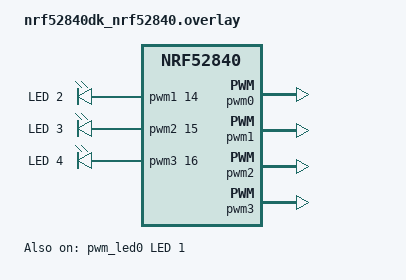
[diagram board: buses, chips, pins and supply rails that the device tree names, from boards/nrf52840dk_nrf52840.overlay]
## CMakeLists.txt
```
#
# Copyright (c) 2021 Nordic Semiconductor
#
# SPDX-License-Identifier: LicenseRef-Nordic-5-Clause
#
cmake_minimum_required(VERSION 3.20.0)

find_package(Zephyr REQUIRED HINTS $ENV{ZEPHYR_BASE})
project(NONE)

# NORDIC SDK APP START
target_sources(app PRIVATE
  src/main.c
)
# NORDIC SDK APP END

# Add include directory for board specific CAF def files
zephyr_include_directories(
  configuration/${BOARD}
  )

target_sources_ifdef(CONFIG_CAF_SAMPLE_LED_STATE
  app PRIVATE src/modules/led_state.c)
```

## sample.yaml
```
sample:
  name: CAF
  description: Common Application Framework sample
tests:
  samples.caf:
    build_only: true
    platform_allow: nrf52840dk_nrf52840 nrf5340dk_nrf5340_cpuapp
    integration_platforms:
      - nrf52840dk_nrf52840
      - nrf5340dk_nrf5340_cpuapp
    tags: caf ci_build
```

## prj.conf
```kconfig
#
# Copyright (c) 2021 Nordic Semiconductor
#
# SPDX-License-Identifier: LicenseRef-Nordic-5-Clause
#

# Dependencies for EVENT_MANAGER and CAF
CONFIG_LINKER_ORPHAN_SECTION_PLACE=y
CONFIG_EVENT_MANAGER_EVENT_LOG_BUF_LEN=0
CONFIG_HEAP_MEM_POOL_SIZE=2048

# Enable CAF_BUTTONS
CONFIG_CAF=y
CONFIG_CAF_BUTTONS=y
CONFIG_CAF_BUTTONS_POLARITY_INVERSED=y

# Dependencies for CAF_LEDS
CONFIG_LED=y
CONFIG_PWM=y
CONFIG_LED_PWM=y

# Enable CAF_LEDS
CONFIG_CAF_LEDS=y
CONFIG_CAF_LEDS_PWM=y

# Enable logging
CONFIG_LOG=y
# Increase number of internal logging buffers
CONFIG_LOG_STRDUP_BUF_COUNT=32

# Application specific options
CONFIG_CAF_SAMPLE_LED_STATE=y
```

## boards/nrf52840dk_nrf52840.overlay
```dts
/* Copyright (c) 2021 Nordic Semiconductor ASA
 *
 * SPDX-License-Identifier: LicenseRef-Nordic-5-Clause
 */

/ {
	pwmleds1 {
		compatible = "pwm-leds";
		status = "okay";

		pwm_led1: led_pwm_1 {
			status = "okay";
			pwms = <&pwm1 14>;
			label = "LED 2";
		};
	};

	pwmleds2 {
		compatible = "pwm-leds";
		status = "okay";

		pwm_led2: led_pwm_2 {
			status = "okay";
			pwms = <&pwm2 15>;
			label = "LED 3";
		};
	};

	pwmleds3 {
		compatible = "pwm-leds";
		status = "okay";

		pwm_led3: led_pwm_3 {
			status = "okay";
			pwms = <&pwm3 16>;
			label = "LED 4";
		};
	};
};

&pwm0 {
	status = "okay";
	ch0-pin = <13>;
	ch0-inverted;
};

&pwm1 {
	status = "okay";
	ch0-pin = <14>;
	ch0-inverted;
};

&pwm2 {
	status = "okay";
	ch0-pin = <15>;
	ch0-inverted;
};

&pwm3 {
	status = "okay";
	ch0-pin = <16>;
	ch0-inverted;
};

&pwm_led0 {
	status = "okay";
	pwms = <&pwm0 13>;
	label = "LED 1";
};
```

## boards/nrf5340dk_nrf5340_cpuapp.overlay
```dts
/* Copyright (c) 2021 Nordic Semiconductor ASA
 *
 * SPDX-License-Identifier: LicenseRef-Nordic-5-Clause
 */

/ {
	pwmleds1 {
		compatible = "pwm-leds";
		status = "okay";

		pwm_led1: led_pwm_1 {
			pwms = <&pwm1 29>;
			label = "LED 2";
		};
	};

	pwmleds2 {
		compatible = "pwm-leds";
		status = "okay";

		pwm_led2: led_pwm_2 {
			status = "okay";
			pwms = <&pwm2 30>;
			label = "LED 3";
		};
	};

	pwmleds3 {
		compatible = "pwm-leds";
		status = "okay";

		pwm_led3: led_pwm_3 {
			status = "okay";
			pwms = <&pwm3 31>;
			label = "LED 4";
		};
	};
};

&pwm0 {
	status = "okay";
	ch0-pin = <28>;
	ch0-inverted;
};

&pwm1 {
	status = "okay";
	ch0-pin = <29>;
	ch0-inverted;
};

&pwm2 {
	status = "okay";
	ch0-pin = <30>;
	ch0-inverted;
};

&pwm3 {
	status = "okay";
	ch0-pin = <31>;
	ch0-inverted;
};

&pwm_led0 {
	status = "okay";
	pwms = <&pwm0 28>;
	label = "LED 1";
};
```

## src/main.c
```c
/*
 * Copyright (c) 2021 Nordic Semiconductor ASA
 *
 * SPDX-License-Identifier: LicenseRef-Nordic-5-Clause
 */
#include <event_manager.h>

#define MODULE main
#include <caf/events/module_state_event.h>

#include <logging/log.h>
LOG_MODULE_REGISTER(MODULE);


void main(void)
{
	if (event_manager_init()) {
		LOG_ERR("Event manager not initialized");
	} else {
		module_set_state(MODULE_STATE_READY);
	}
}
```
